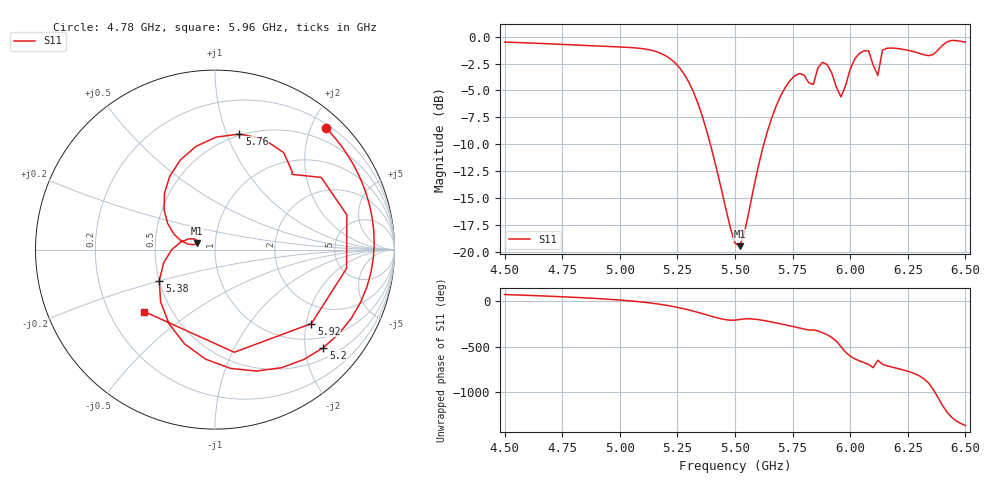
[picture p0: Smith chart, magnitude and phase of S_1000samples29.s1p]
! TOUCHSTONE file generated by CST MICROWAVE STUDIO
! Date and time: Wed Oct 26 18:09:52 2022
! Project name: L.cst
! Parameters = {Di=1.27; Epsilon_r=1.56; InnerDiameter=1.27; Length=2; Lf=10; Lg=60; OuterConductorThickness=0.2921; OuterDiameter=3.6; Wf=3; Wp=41.2; de=1.5; df=6.8; g=0.8; gx=4.26351; gy=1.22769; h=2.34; hf=1.524; px=9.3358; py=13.8477; w=9.7; wx=5.0723; wy=12.6201}
! Header version: 2018
! Port assignment regex: !\s*Touchstone port\s*([0-9]+)\s*=\s*(CST MWS port|CST DS port)\s*([0-9]+|Zmin|Zmax)\s*\(\"(.*)\"\)(\s*mode\s*([0-9]+))?.*
! Touchstone port assignment:
! Touchstone port 1 = CST MWS port 1 ("")
# GHz S DB R 50
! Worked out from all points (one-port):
!   101 points, 4.5 GHz to 6.5 GHz, reference 50 ohm
!   lowest |S11| = -19.5 dB at 5.52 GHz (marker M1), VSWR 1.24, Z = 40.8 + j2.95 ohm
!   |S11| at or under -10 dB: 5.393 GHz to 5.625 GHz (232.6 MHz wide, 4.22 % of centre)
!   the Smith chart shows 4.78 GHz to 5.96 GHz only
!   S11 on the Smith chart (normalised r, x): 4.78 GHz: 0.26, +2.24; 5.2 GHz: 0.74, -2.40; 5.38 GHz: 0.50, -0.20; 5.76 GHz: 0.49, +1.11; 5.92 GHz: 1.41, -2.15; 5.96 GHz: 0.35, -0.33
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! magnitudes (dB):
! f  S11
! 4.5 GHz  -0.5
! 4.76 GHz  -0.7
! 4.78 GHz  -0.8
! 5 GHz  -1.0
! 5.2 GHz  -1.8
! 5.26 GHz  -2.9
! 5.32 GHz  -5.2
! 5.38 GHz  -9.0
! 5.5 GHz  -19.2
! 5.52 GHz  -19.5
! 5.54 GHz  -18.3
! 5.6 GHz  -12.2
! 5.66 GHz  -7.5
! 5.7 GHz  -5.4
! 5.76 GHz  -3.6
! 5.84 GHz  -4.4
! 5.88 GHz  -2.4
! 5.92 GHz  -3.4
! 5.96 GHz  -5.6
! 6 GHz  -3.0
! 6.04 GHz  -1.6
! 6.08 GHz  -1.3
! 6.12 GHz  -3.6
! 6.14 GHz  -1.3
! 6.26 GHz  -1.3
! 6.34 GHz  -1.8
! 6.42 GHz  -0.5
! 6.5 GHz  -0.5
